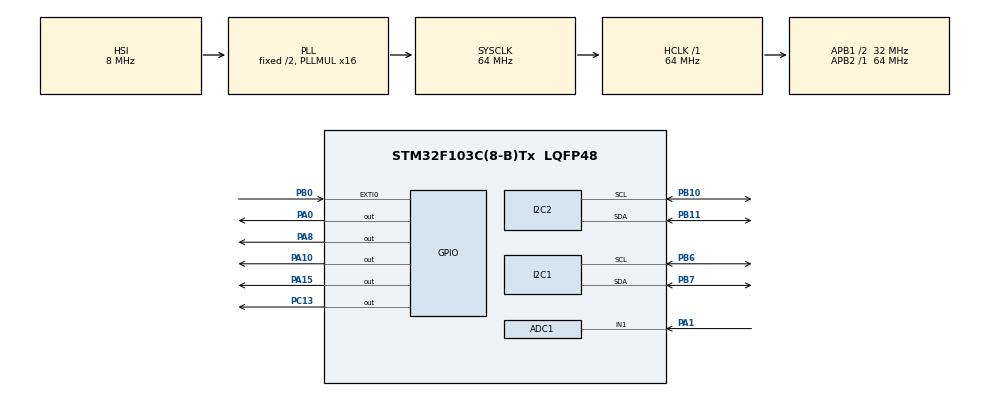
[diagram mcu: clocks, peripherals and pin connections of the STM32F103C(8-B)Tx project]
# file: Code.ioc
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ADC1.Channel-8\#ChannelRegularConversion=ADC_CHANNEL_1
ADC1.EnableRegularConversion=ENABLE
ADC1.NbrOfConversion=1
ADC1.NbrOfConversionFlag=1
ADC1.Rank-8\#ChannelRegularConversion=1
ADC1.SamplingTime-8\#ChannelRegularConversion=ADC_SAMPLETIME_239CYCLES_5
ADC1.master=1
Dma.ADC1.0.Direction=DMA_PERIPH_TO_MEMORY
Dma.ADC1.0.Instance=DMA1_Channel1
Dma.ADC1.0.MemDataAlignment=DMA_MDATAALIGN_HALFWORD
Dma.ADC1.0.MemInc=DMA_MINC_ENABLE
Dma.ADC1.0.Mode=DMA_CIRCULAR
Dma.ADC1.0.PeriphDataAlignment=DMA_PDATAALIGN_HALFWORD
Dma.ADC1.0.PeriphInc=DMA_PINC_DISABLE
Dma.ADC1.0.Priority=DMA_PRIORITY_LOW
Dma.Request0=ADC1
I2C1.I2C_Mode=I2C_Fast
I2C2.I2C_Mode=I2C_Fast
Mcu.Family=STM32F1
Mcu.Name=STM32F103C(8-B)Tx
Mcu.Package=LQFP48
NVIC.ADC1_2_IRQn=true\:0\:0\:false\:false\:true\:true\:true
NVIC.DMA1_Channel1_IRQn=true\:0\:0\:false\:false\:true\:false\:true
NVIC.EXTI0_IRQn=true\:0\:0\:false\:false\:true\:true\:true
NVIC.PriorityGroup=NVIC_PRIORITYGROUP_4
NVIC.TIM2_IRQn=true\:0\:0\:false\:false\:true\:true\:true
PA0-WKUP.GPIO_PuPd=GPIO_PULLDOWN
PA0-WKUP.Signal=GPIO_Output
PA1.Signal=ADCx_IN1
PA10.GPIO_PuPd=GPIO_PULLDOWN
PA10.Signal=GPIO_Output
PA13.Mode=Trace_Asynchronous_SW
PA13.Signal=SYS_JTMS-SWDIO
PA14.Mode=Trace_Asynchronous_SW
PA14.Signal=SYS_JTCK-SWCLK
PA15.GPIO_PuPd=GPIO_NOPULL
PA15.PinState=GPIO_PIN_RESET
PA15.Signal=GPIO_Output
PA8.GPIO_PuPd=GPIO_PULLDOWN
PA8.Signal=GPIO_Output
PB0.GPIO_ModeDefaultEXTI=GPIO_MODE_IT_RISING_FALLING
PB0.GPIO_PuPd=GPIO_PULLDOWN
PB0.Signal=GPXTI0
PB10.Mode=I2C
PB10.Signal=I2C2_SCL
PB11.Mode=I2C
PB11.Signal=I2C2_SDA
PB3.Mode=Trace_Asynchronous_SW
PB3.Signal=SYS_JTDO-TRACESWO
PB6.Mode=I2C
PB6.Signal=I2C1_SCL
PB7.Mode=I2C
PB7.Signal=I2C1_SDA
PC13-TAMPER-RTC.Signal=GPIO_Output
ProjectManager.HeapSize=0x200
ProjectManager.StackSize=0x400
ProjectManager.TargetToolchain=MDK-ARM V5.32
RCC.ADCPresc=RCC_ADCPCLK2_DIV8
RCC.AHBFreq_Value=64000000
RCC.APB1CLKDivider=RCC_HCLK_DIV2
RCC.APB1Freq_Value=32000000
RCC.APB1TimFreq_Value=64000000
RCC.APB2Freq_Value=64000000
RCC.APB2TimFreq_Value=64000000
RCC.HCLKFreq_Value=64000000
RCC.PLLMUL=RCC_PLL_MUL16
RCC.SYSCLKFreq_VALUE=64000000
RCC.SYSCLKSource=RCC_SYSCLKSOURCE_PLLCLK
RCC.USBFreq_Value=64000000
SH.ADCx_IN1.0=ADC1_IN1,IN1
TIM1.Period=65534
TIM1.Prescaler=63
TIM2.Period=499
TIM2.Prescaler=63999
VP_TIM1_VS_ClockSourceINT.Mode=Internal
VP_TIM2_VS_ClockSourceINT.Mode=Internal
board=custom

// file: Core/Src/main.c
/* USER CODE BEGIN Header */
/**
  ******************************************************************************
  * @file           : main.c
  * @brief          : Main program body
  ******************************************************************************
  * @attention
  *
  * Copyright (c) 2022 STMicroelectronics.
  * All rights reserved.
  *
  * This software is licensed under terms that can be found in the LICENSE file
  * in the root directory of this software component.
  * If no LICENSE file comes with this software, it is provided AS-IS.
  *
  ******************************************************************************
  */
/* USER CODE END Header */
#include "main.h"

/* USER CODE BEGIN Includes */
#include "ssd1306.h"
#include "fonts.h"
#include "dht11.h"
#include "lm75.h"
#include "help_functions.h"

#define ADC_REFERENCE_VOLTAGE                                           1.2
#define ADC_MAX                                                         0xFFF
/* USER CODE END Includes */

/* USER CODE BEGIN PTD */
char s_count[5];

struct dht11_sensor my_dht11_sensor = {
	.dht_port = GPIOA,
	.dht_pin = GPIO_PIN_15,
};

volatile _Bool flag = 0;
uint16_t count_tick = 0;

_Bool ssd1306_init = 0;

volatile float bat_voltage = 0.0;
volatile uint32_t adc_value;
volatile float temp_lm75 = 0.0;
/* USER CODE END PTD */

ADC_HandleTypeDef hadc1;
DMA_HandleTypeDef hdma_adc1;

I2C_HandleTypeDef hi2c1;
I2C_HandleTypeDef hi2c2;

TIM_HandleTypeDef htim1;
TIM_HandleTypeDef htim2;

void SystemClock_Config(void);
static void MX_GPIO_Init(void);
static void MX_I2C1_Init(void);
static void MX_TIM1_Init(void);
static void MX_TIM2_Init(void);
static void MX_DMA_Init(void);
static void MX_ADC1_Init(void);
static void MX_I2C2_Init(void);

int main(void)
{

  /* MCU Configuration--------------------------------------------------------*/

  /* Reset of all peripherals, Initializes the Flash interface and the Systick. */
  HAL_Init();

  /* Configure the system clock */
  SystemClock_Config();

  /* Initialize all configured peripherals */
  MX_GPIO_Init();
  MX_I2C1_Init();
  MX_TIM1_Init();
  MX_TIM2_Init();
  MX_DMA_Init();
  MX_ADC1_Init();
  MX_I2C2_Init();
  /* USER CODE BEGIN 2 */

	/* Display init */
	if(ssd1306_Init(&hi2c1) != 0){
    //Error_Handler();
  }
	ssd1306_init = 1;
  ssd1306_Fill(Black);
  ssd1306_UpdateScreen(&hi2c1);

	/* Start timer_1, timer_2*/
	HAL_TIM_Base_Start(&htim1);
	HAL_TIM_Base_Start_IT(&htim2);

	/* Enable battary voltage measurment */
	//HAL_GPIO_WritePin(GPIOA, GPIO_PIN_0, GPIO_PIN_SET);
	HAL_GPIO_WritePin(GPIOA, GPIO_PIN_0, GPIO_PIN_RESET);
	HAL_ADCEx_Calibration_Start(&hadc1);
	HAL_ADC_Start_DMA(&hadc1, &adc_value, 1);
	HAL_ADC_Start_IT(&hadc1);

  /* USER CODE END 2 */

  /* Infinite loop */
  /* USER CODE BEGIN WHILE */
  while (1)
  {

		if(flag){
			//lm75_sleep_mode(&hi2c2, LM75_NORMAL);
			dht11_read(&my_dht11_sensor);
			temp_lm75 = lm75_read_temp(&hi2c2);
			UpdateDisplay(my_dht11_sensor.humidity, my_dht11_sensor.temperature, bat_voltage, temp_lm75);
			flag = 0;
		}

		//temp_lm75 = lm75_read_temp(&hi2c2);

    /* USER CODE END WHILE */

    /* USER CODE BEGIN 3 */
		/*GPIOA->BSRR |= GPIO_BSRR_BR8;
		HAL_Delay(500);
		GPIOA->BSRR |= GPIO_BSRR_BS10;
		HAL_Delay(500);*/
		/*
		HAL_GPIO_WritePin(GPIOA, GPIO_PIN_8, GPIO_PIN_SET);
		HAL_GPIO_WritePin(GPIOA, GPIO_PIN_10, GPIO_PIN_RESET);
		HAL_Delay(500);
		HAL_GPIO_WritePin(GPIOA, GPIO_PIN_10, GPIO_PIN_SET);
		HAL_GPIO_WritePin(GPIOA, GPIO_PIN_8, GPIO_PIN_RESET);
		HAL_Delay(500);
		*/
  }
  /* USER CODE END 3 */
}

void SystemClock_Config(void)
{
  RCC_OscInitTypeDef RCC_OscInitStruct = {0};
  RCC_ClkInitTypeDef RCC_ClkInitStruct = {0};
  RCC_PeriphCLKInitTypeDef PeriphClkInit = {0};

  /** Initializes the RCC Oscillators according to the specified parameters
  * in the RCC_OscInitTypeDef structure.
  */
  RCC_OscInitStruct.OscillatorType = RCC_OSCILLATORTYPE_HSI;
  RCC_OscInitStruct.HSIState = RCC_HSI_ON;
  RCC_OscInitStruct.HSICalibrationValue = RCC_HSICALIBRATION_DEFAULT;
  RCC_OscInitStruct.PLL.PLLState = RCC_PLL_ON;
  RCC_OscInitStruct.PLL.PLLSource = RCC_PLLSOURCE_HSI_DIV2;
  RCC_OscInitStruct.PLL.PLLMUL = RCC_PLL_MUL16;
  if (HAL_RCC_OscConfig(&RCC_OscInitStruct) != HAL_OK)
  {
    Error_Handler();
  }
  /** Initializes the CPU, AHB and APB buses clocks
  */
  RCC_ClkInitStruct.ClockType = RCC_CLOCKTYPE_HCLK|RCC_CLOCKTYPE_SYSCLK
                              |RCC_CLOCKTYPE_PCLK1|RCC_CLOCKTYPE_PCLK2;
  RCC_ClkInitStruct.SYSCLKSource = RCC_SYSCLKSOURCE_PLLCLK;
  RCC_ClkInitStruct.AHBCLKDivider = RCC_SYSCLK_DIV1;
  RCC_ClkInitStruct.APB1CLKDivider = RCC_HCLK_DIV2;
  RCC_ClkInitStruct.APB2CLKDivider = RCC_HCLK_DIV1;

  if (HAL_RCC_ClockConfig(&RCC_ClkInitStruct, FLASH_LATENCY_2) != HAL_OK)
  {
    Error_Handler();
  }
  PeriphClkInit.PeriphClockSelection = RCC_PERIPHCLK_ADC;
  PeriphClkInit.AdcClockSelection = RCC_ADCPCLK2_DIV8;
  if (HAL_RCCEx_PeriphCLKConfig(&PeriphClkInit) != HAL_OK)
  {
    Error_Handler();
  }
}

static void MX_ADC1_Init(void)
{

  ADC_ChannelConfTypeDef sConfig = {0};

  /** Common config
  */
  hadc1.Instance = ADC1;
  hadc1.Init.ScanConvMode = ADC_SCAN_DISABLE;
  hadc1.Init.ContinuousConvMode = DISABLE;
  hadc1.Init.DiscontinuousConvMode = DISABLE;
  hadc1.Init.ExternalTrigConv = ADC_SOFTWARE_START;
  hadc1.Init.DataAlign = ADC_DATAALIGN_RIGHT;
  hadc1.Init.NbrOfConversion = 1;
  if (HAL_ADC_Init(&hadc1) != HAL_OK)
  {
    Error_Handler();
  }
  /** Configure Regular Channel
  */
  sConfig.Channel = ADC_CHANNEL_1;
  sConfig.Rank = ADC_REGULAR_RANK_1;
  sConfig.SamplingTime = ADC_SAMPLETIME_239CYCLES_5;
  if (HAL_ADC_ConfigChannel(&hadc1, &sConfig) != HAL_OK)
  {
    Error_Handler();
  }

}

static void MX_I2C1_Init(void)
{

  hi2c1.Instance = I2C1;
  hi2c1.Init.ClockSpeed = 400000;
  hi2c1.Init.DutyCycle = I2C_DUTYCYCLE_2;
  hi2c1.Init.OwnAddress1 = 0;
  hi2c1.Init.AddressingMode = I2C_ADDRESSINGMODE_7BIT;
  hi2c1.Init.DualAddressMode = I2C_DUALADDRESS_DISABLE;
  hi2c1.Init.OwnAddress2 = 0;
  hi2c1.Init.GeneralCallMode = I2C_GENERALCALL_DISABLE;
  hi2c1.Init.NoStretchMode = I2C_NOSTRETCH_DISABLE;
  if (HAL_I2C_Init(&hi2c1) != HAL_OK)
  {
    Error_Handler();
  }

}

static void MX_I2C2_Init(void)
{

  hi2c2.Instance = I2C2;
  hi2c2.Init.ClockSpeed = 400000;
  hi2c2.Init.DutyCycle = I2C_DUTYCYCLE_2;
  hi2c2.Init.OwnAddress1 = 0;
  hi2c2.Init.AddressingMode = I2C_ADDRESSINGMODE_7BIT;
  hi2c2.Init.DualAddressMode = I2C_DUALADDRESS_DISABLE;
  hi2c2.Init.OwnAddress2 = 0;
  hi2c2.Init.GeneralCallMode = I2C_GENERALCALL_DISABLE;
  hi2c2.Init.NoStretchMode = I2C_NOSTRETCH_DISABLE;
  if (HAL_I2C_Init(&hi2c2) != HAL_OK)
  {
    Error_Handler();
  }

}

static void MX_TIM1_Init(void)
{

  TIM_ClockConfigTypeDef sClockSourceConfig = {0};
  TIM_MasterConfigTypeDef sMasterConfig = {0};

  htim1.Instance = TIM1;
  htim1.Init.Prescaler = 63;
  htim1.Init.CounterMode = TIM_COUNTERMODE_UP;
  htim1.Init.Period = 65534;
  htim1.Init.ClockDivision = TIM_CLOCKDIVISION_DIV1;
  htim1.Init.RepetitionCounter = 0;
  htim1.Init.AutoReloadPreload = TIM_AUTORELOAD_PRELOAD_DISABLE;
  if (HAL_TIM_Base_Init(&htim1) != HAL_OK)
  {
    Error_Handler();
  }
  sClockSourceConfig.ClockSource = TIM_CLOCKSOURCE_INTERNAL;
  if (HAL_TIM_ConfigClockSource(&htim1, &sClockSourceConfig) != HAL_OK)
  {
    Error_Handler();
  }
  sMasterConfig.MasterOutputTrigger = TIM_TRGO_RESET;
  sMasterConfig.MasterSlaveMode = TIM_MASTERSLAVEMODE_DISABLE;
  if (HAL_TIMEx_MasterConfigSynchronization(&htim1, &sMasterConfig) != HAL_OK)
  {
    Error_Handler();
  }

}

static void MX_TIM2_Init(void)
{

  TIM_ClockConfigTypeDef sClockSourceConfig = {0};
  TIM_MasterConfigTypeDef sMasterConfig = {0};

  htim2.Instance = TIM2;
  htim2.Init.Prescaler = 63999;
  htim2.Init.CounterMode = TIM_COUNTERMODE_UP;
  htim2.Init.Period = 499;
  htim2.Init.ClockDivision = TIM_CLOCKDIVISION_DIV1;
  htim2.Init.AutoReloadPreload = TIM_AUTORELOAD_PRELOAD_DISABLE;
  if (HAL_TIM_Base_Init(&htim2) != HAL_OK)
  {
    Error_Handler();
  }
  sClockSourceConfig.ClockSource = TIM_CLOCKSOURCE_INTERNAL;
  if (HAL_TIM_ConfigClockSource(&htim2, &sClockSourceConfig) != HAL_OK)
  {
    Error_Handler();
  }
  sMasterConfig.MasterOutputTrigger = TIM_TRGO_RESET;
  sMasterConfig.MasterSlaveMode = TIM_MASTERSLAVEMODE_DISABLE;
  if (HAL_TIMEx_MasterConfigSynchronization(&htim2, &sMasterConfig) != HAL_OK)
  {
    Error_Handler();
  }

}

static void MX_DMA_Init(void)
{

  /* DMA controller clock enable */
  __HAL_RCC_DMA1_CLK_ENABLE();

  /* DMA interrupt init */
  /* DMA1_Channel1_IRQn interrupt configuration */
  HAL_NVIC_SetPriority(DMA1_Channel1_IRQn, 0, 0);
  HAL_NVIC_EnableIRQ(DMA1_Channel1_IRQn);

}

static void MX_GPIO_Init(void)
{
  GPIO_InitTypeDef GPIO_InitStruct = {0};

  /* GPIO Ports Clock Enable */
  __HAL_RCC_GPIOC_CLK_ENABLE();
  __HAL_RCC_GPIOA_CLK_ENABLE();
  __HAL_RCC_GPIOB_CLK_ENABLE();

  /*Configure GPIO pin Output Level */
  HAL_GPIO_WritePin(GPIOC, GPIO_PIN_13, GPIO_PIN_RESET);

  /*Configure GPIO pin Output Level */
  HAL_GPIO_WritePin(GPIOA, GPIO_PIN_0|GPIO_PIN_8|GPIO_PIN_10|GPIO_PIN_15, GPIO_PIN_RESET);

  /*Configure GPIO pin : PC13 */
  GPIO_InitStruct.Pin = GPIO_PIN_13;
  GPIO_InitStruct.Mode = GPIO_MODE_OUTPUT_PP;
  GPIO_InitStruct.Pull = GPIO_NOPULL;
  GPIO_InitStruct.Speed = GPIO_SPEED_FREQ_LOW;
  HAL_GPIO_Init(GPIOC, &GPIO_InitStruct);

  /*Configure GPIO pins : PA0 PA8 PA10 */
  GPIO_InitStruct.Pin = GPIO_PIN_0|GPIO_PIN_8|GPIO_PIN_10;
  GPIO_InitStruct.Mode = GPIO_MODE_OUTPUT_PP;
  GPIO_InitStruct.Pull = GPIO_PULLDOWN;
  GPIO_InitStruct.Speed = GPIO_SPEED_FREQ_LOW;
  HAL_GPIO_Init(GPIOA, &GPIO_InitStruct);

  /*Configure GPIO pin : PB0 */
  GPIO_InitStruct.Pin = GPIO_PIN_0;
  GPIO_InitStruct.Mode = GPIO_MODE_IT_RISING_FALLING;
  GPIO_InitStruct.Pull = GPIO_PULLDOWN;
  HAL_GPIO_Init(GPIOB, &GPIO_InitStruct);

  /*Configure GPIO pin : PA15 */
  GPIO_InitStruct.Pin = GPIO_PIN_15;
  GPIO_InitStruct.Mode = GPIO_MODE_OUTPUT_PP;
  GPIO_InitStruct.Pull = GPIO_NOPULL;
  GPIO_InitStruct.Speed = GPIO_SPEED_FREQ_LOW;
  HAL_GPIO_Init(GPIOA, &GPIO_InitStruct);

  /* EXTI interrupt init*/
  HAL_NVIC_SetPriority(EXTI0_IRQn, 0, 0);
  HAL_NVIC_EnableIRQ(EXTI0_IRQn);

}

void Error_Handler(void)
{
  __disable_irq();
  while (1)
  {
  }
}
